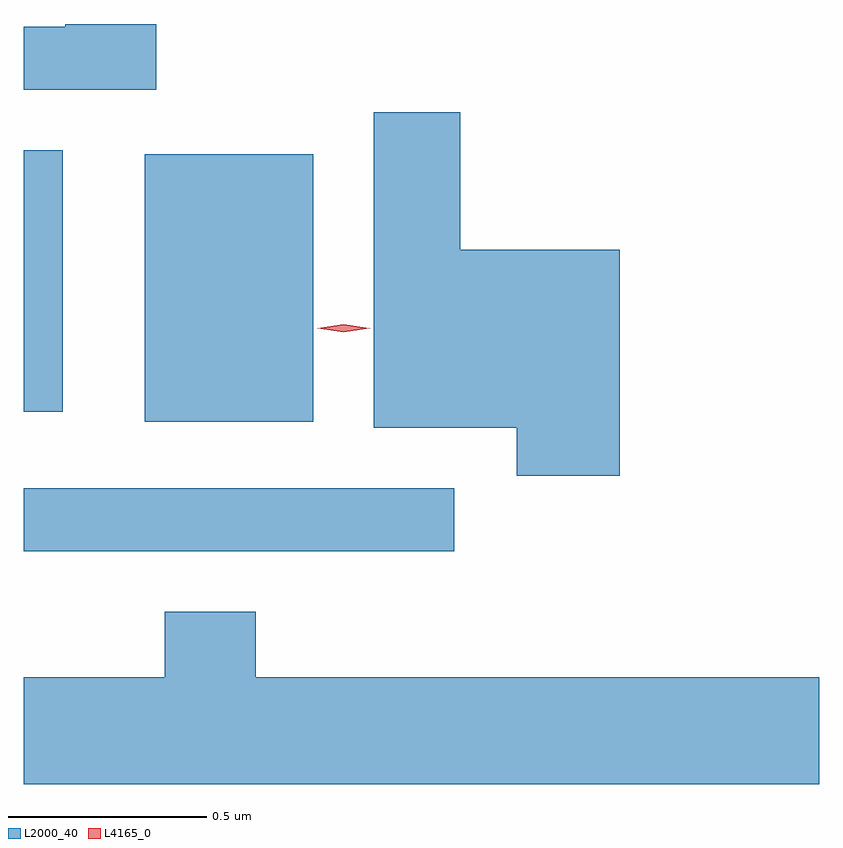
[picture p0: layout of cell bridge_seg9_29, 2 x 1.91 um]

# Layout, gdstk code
import gdstk
lib = gdstk.Library(unit=1e-6, precision=1e-09)
def R(c, l, rs):  # rectangles x0, y0, x1, y1
    for r in rs: c.add(gdstk.rectangle(r[:2], r[2:], *l))
def P(c, l, *ps):  # polygons
    for p in ps: c.add(gdstk.Polygon(p, *l))
L2000_40 = (2000, 40)
L4165_0 = (4165, 0)

bridge_seg9_29 = lib.new_cell('bridge_seg9_29')
R(bridge_seg9_29, L2000_40, [(1538.626,2045.681,1539.708,2045.839), (1538.931,2046.006,1539.354,2046.679), (1538.626,2046.031,1538.724,2046.689)])
P(bridge_seg9_29, L2000_40, [(1538.959,2047.006),(1538.731,2047.006),(1538.731,2046.999),(1538.626,2046.999),(1538.626,2046.841),(1538.959,2046.841)],
  [(1540.124,2046.439),(1539.724,2046.439),(1539.724,2046.784),(1539.506,2046.784),(1539.506,2045.991),(1539.866,2045.991),(1539.866,2045.871),(1540.124,2045.871)],
  [(1540.626,2045.364),(1539.209,2045.364),(1539.209,2045.529),(1538.981,2045.529),(1538.981,2045.364),(1538.626,2045.364),(1538.626,2045.096),(1540.626,2045.096)])
P(bridge_seg9_29, L4165_0, [(1539.43,2046.231),(1539.364,2046.241),(1539.363,2046.241),(1539.364,2046.242),(1539.43,2046.251),(1539.496,2046.242),(1539.497,2046.241),(1539.496,2046.241)])

lib.write_gds('bridge_seg9_29.gds')
